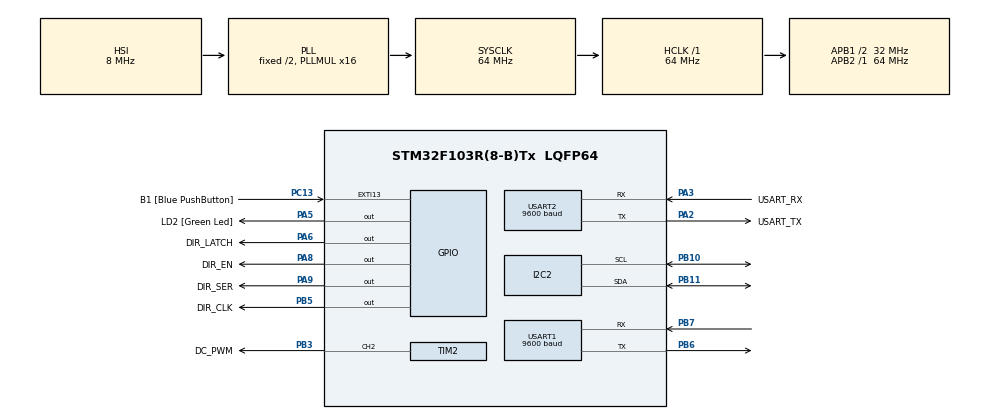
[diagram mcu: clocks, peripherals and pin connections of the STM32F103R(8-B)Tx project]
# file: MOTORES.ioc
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Mcu.Family=STM32F1
Mcu.Name=STM32F103R(8-B)Tx
Mcu.Package=LQFP64
NVIC.EXTI15_10_IRQn=true\:0\:0\:false\:false\:true\:true\:true\:true
NVIC.PriorityGroup=NVIC_PRIORITYGROUP_4
NVIC.USART1_IRQn=true\:0\:0\:false\:false\:true\:true\:true\:true
PA13.GPIO_Label=TMS
PA13.Mode=Serial_Wire
PA13.Signal=SYS_JTMS-SWDIO
PA14.GPIO_Label=TCK
PA14.Mode=Serial_Wire
PA14.Signal=SYS_JTCK-SWCLK
PA2.GPIO_Label=USART_TX
PA2.GPIO_Mode=GPIO_MODE_AF_PP
PA2.GPIO_PuPd=GPIO_NOPULL
PA2.GPIO_Speed=GPIO_SPEED_FREQ_LOW
PA2.Mode=Asynchronous
PA2.Signal=USART2_TX
PA3.GPIO_Label=USART_RX
PA3.GPIO_Mode=GPIO_MODE_AF_PP
PA3.GPIO_PuPd=GPIO_NOPULL
PA3.GPIO_Speed=GPIO_SPEED_FREQ_LOW
PA3.Mode=Asynchronous
PA3.Signal=USART2_RX
PA5.GPIO_Label=LD2 [Green Led]
PA5.GPIO_ModeDefaultOutputPP=GPIO_MODE_OUTPUT_PP
PA5.GPIO_PuPd=GPIO_NOPULL
PA5.GPIO_Speed=GPIO_SPEED_FREQ_LOW
PA5.Signal=GPIO_Output
PA6.GPIO_Label=DIR_LATCH
PA6.Signal=GPIO_Output
PA8.GPIO_Label=DIR_EN
PA8.Signal=GPIO_Output
PA9.GPIO_Label=DIR_SER
PA9.Signal=GPIO_Output
PB10.Mode=I2C
PB10.Signal=I2C2_SCL
PB11.Mode=I2C
PB11.Signal=I2C2_SDA
PB3.GPIO_Label=DC_PWM
PB3.Signal=S_TIM2_CH2
PB5.GPIO_Label=DIR_CLK
PB5.Signal=GPIO_Output
PB6.Mode=Asynchronous
PB6.Signal=USART1_TX
PB7.Mode=Asynchronous
PB7.Signal=USART1_RX
PC13-TAMPER-RTC.GPIO_Label=B1 [Blue PushButton]
PC13-TAMPER-RTC.GPIO_PuPd=GPIO_NOPULL
PC13-TAMPER-RTC.Signal=GPXTI13
PC14-OSC32_IN.Mode=LSE-External-Oscillator
PC14-OSC32_IN.Signal=RCC_OSC32_IN
PC15-OSC32_OUT.Mode=LSE-External-Oscillator
PC15-OSC32_OUT.Signal=RCC_OSC32_OUT
PC7.GPIO_Label=PWM_SERVO
PC7.Signal=S_TIM3_CH2
PD0-OSC_IN.Mode=HSE-External-Clock-Source
PD0-OSC_IN.Signal=RCC_OSC_IN
PD1-OSC_OUT.Mode=HSE-External-Clock-Source
PD1-OSC_OUT.Signal=RCC_OSC_OUT
ProjectManager.HeapSize=0x200
ProjectManager.StackSize=0x400
ProjectManager.TargetToolchain=STM32CubeIDE
RCC.AHBFreq_Value=64000000
RCC.APB1CLKDivider=RCC_HCLK_DIV2
RCC.APB1Freq_Value=32000000
RCC.APB1TimFreq_Value=64000000
RCC.APB2Freq_Value=64000000
RCC.APB2TimFreq_Value=64000000
RCC.HCLKFreq_Value=64000000
RCC.PLLMUL=RCC_PLL_MUL16
RCC.RTCClockSelection=RCC_RTCCLKSOURCE_LSE
RCC.SYSCLKFreq_VALUE=64000000
RCC.SYSCLKSource=RCC_SYSCLKSOURCE_PLLCLK
RCC.USBFreq_Value=64000000
SH.S_TIM2_CH2.0=TIM2_CH2,PWM Generation2 CH2
SH.S_TIM3_CH2.0=TIM3_CH2
TIM2.Channel-PWM\ Generation2\ CH2=TIM_CHANNEL_2
USART1.BaudRate=9600
USART1.VirtualMode=VM_ASYNC
USART2.BaudRate=9600
USART2.VirtualMode=VM_ASYNC
board=NUCLEO-F103RB

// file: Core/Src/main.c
/* USER CODE BEGIN Header */
/**
  ******************************************************************************
  * @file           : main.c
  * @brief          : Main program body
  ******************************************************************************
  * @attention
  *
  * Copyright (c) 2022 STMicroelectronics.
  * All rights reserved.
  *
  * This software is licensed under terms that can be found in the LICENSE file
  * in the root directory of this software component.
  * If no LICENSE file comes with this software, it is provided AS-IS.
  *
  ******************************************************************************
  */
/* USER CODE END Header */
#include "main.h"

/* USER CODE BEGIN Includes */
#include "L293D_STM32F103.h"
#include "API_STM32F103_SERVOMOTOR_MG90D.h"
//#include "HMC5883L.h"
#include "QMC5883.h"
#include "I2Cdev.h"
#include "Sail_Algorithms.h"
#include "Bluetooth_BLE_V4.2_JDY-18.h"
#include <string.h>
/* USER CODE END Includes */

I2C_HandleTypeDef hi2c2;

TIM_HandleTypeDef htim2;

UART_HandleTypeDef huart1;
UART_HandleTypeDef huart2;

/* USER CODE BEGIN PV */
Beacon b1;
Beacon b2;
Beacon b3;
float boat_x;
float boat_y;
QMC_t compass;
Compass_config config;
float boat_angle;
float target_angle;
float rudder_angle;
uint8_t duty_cylce_dc_motor;

//Variáveis para o módulo bluetooth
extern Status_t status;
static char buffer[700];
uint8_t caractere[1];
static uint8_t buffer_index = 0;
ListDevices_t listModules;
/* USER CODE END PV */

void SystemClock_Config(void);
static void MX_GPIO_Init(void);
static void MX_USART2_UART_Init(void);
static void MX_TIM2_Init(void);
static void MX_I2C2_Init(void);
static void MX_USART1_UART_Init(void);
/* USER CODE BEGIN PFP */
void GetBeaconBTData(Beacon *b1, Beacon *b2, Beacon *b3, ListDevices_t listModules);
void GetCompassData();
/* USER CODE END PFP */

int main(void)
{

  /* MCU Configuration--------------------------------------------------------*/

  /* Reset of all peripherals, Initializes the Flash interface and the Systick. */
  HAL_Init();

  /* Configure the system clock */
  SystemClock_Config();

  /* Initialize all configured peripherals */
  MX_GPIO_Init();
  MX_USART2_UART_Init();
  MX_TIM2_Init();
  MX_I2C2_Init();
  MX_USART1_UART_Init();
  /* USER CODE BEGIN 2 */
  __HAL_UART_ENABLE_IT(&huart1, UART_IT_RXNE);

  //Configura o módulo Bluetooth
  status = INSTRUCTION;
  //memset(buffer,0,strlen(buffer));
  //buffer_index = 0;
  setupBLE(&huart1, &huart2);
  while(status != FINISH);

  status = INSTRUCTION;
  //memset(buffer,0,strlen(buffer));
  //buffer_index = 0;
  setBaud(BAUD_9600);
  while(status != FINISH);

  status = INSTRUCTION;
  //memset(buffer,0,strlen(buffer));
  //buffer_index = 0;
  setRole(MASTER);
  while(status != FINISH);

  b1.x = UTM_B1_X;
  b1.y = UTM_B1_Y;
  b1.d = 0;
  b2.x = UTM_B2_X;
  b2.y = UTM_B2_Y;
  b2.d = 0;
  b3.x = UTM_B3_X;
  b3.y = UTM_B3_Y ;
  b3.d = 0;

  compass.ADDR_Control_RegisterA = ADDR_REG_A;
  compass.ADDR_Control_RegisterB = ADDR_REG_B;
  compass.ADDR_Mode_Register = ADDR_REG_MODE;
  compass.ADDR_Status_Register = ADDR_REG_STATUS;

  config.gain = _4_0;
  config.meas_mode = Normal;
  config.op_mode = Continuous_meas;
  config.output_rate = 75;
  config.samples_num = eight;

  QMC_init(&compass,&hi2c2,&config);

  SetupServo(SERVO_PWM_GPIO_Port, SERVO_PWM_Pin);
  Setup_DC_Motor(&htim2, TIM_CHANNEL_2);

  SetDirection_DC_Motor(Forward);
  SetDutyCycle_DC_Motor(&htim2, TIM_CHANNEL_2, 100);

  //HAL_Delay(2000);
  //SetDirection_DC_Motor(Back);
  //HAL_Delay(1000);
  //SetDirection_DC_Motor(Forward);
  HAL_Delay(10000);

  //SetDirection_DC_Motor(Forward);
  //SetDutyCycle_DC_Motor(&htim2, TIM_CHANNEL_2, 100);

  /* USER CODE END 2 */

  /* Infinite loop */
  while (1)
  {

    /* USER CODE BEGIN 3 */
	  	  status = INSTRUCTION;
	  	  //memset(buffer,0,strlen(buffer));
	  	  //buffer_index = 0;
	  	  setMasterScanForSlaves();
		  while(status != FINISH);

	  	  status = SCAN;
//		  memset(buffer,0,strlen(buffer));
//		  buffer_index = 0;
		  while(status != FINISH);
		  listModules = masterScanForSlaves(buffer);
		  memset(buffer,0,strlen(buffer));

		  if(listModules.nbOfDevices != 0)
			  GetBeaconBTData(&b1, &b2, &b3, listModules);

	  	  b1.d = BeaconDistance(b1.power, b1.RSSI);
	  	  b2.d = BeaconDistance(b2.power, b2.RSSI);
	  	  b3.d = BeaconDistance(b3.power, b3.RSSI);

	  	  BoatPosition(&b1, &b2, &b3, &boat_x, &boat_y);

	  	  GetCompassData();

	  	  boat_angle = AngleFromGeoNorth(&compass);

	  	  target_angle = TargetAngleFromGeoNorth(&b2, boat_x, boat_y);

	  	  rudder_angle = RudderAngle(boat_angle, target_angle);

	  	  SetPosition(rudder_angle);

	  	  duty_cylce_dc_motor = DCMotorDutyCycle(boat_angle, target_angle);

	  	  SetDutyCycle_DC_Motor(&htim2, TIM_CHANNEL_2, 100);

	  	  HAL_Delay(100);
	  	  HAL_GPIO_TogglePin(LD2_GPIO_Port, LD2_Pin);

  }
  /* USER CODE END 3 */
}

void SystemClock_Config(void)
{
  RCC_OscInitTypeDef RCC_OscInitStruct = {0};
  RCC_ClkInitTypeDef RCC_ClkInitStruct = {0};

  /** Initializes the RCC Oscillators according to the specified parameters
  * in the RCC_OscInitTypeDef structure.
  */
  RCC_OscInitStruct.OscillatorType = RCC_OSCILLATORTYPE_HSI;
  RCC_OscInitStruct.HSIState = RCC_HSI_ON;
  RCC_OscInitStruct.HSICalibrationValue = RCC_HSICALIBRATION_DEFAULT;
  RCC_OscInitStruct.PLL.PLLState = RCC_PLL_ON;
  RCC_OscInitStruct.PLL.PLLSource = RCC_PLLSOURCE_HSI_DIV2;
  RCC_OscInitStruct.PLL.PLLMUL = RCC_PLL_MUL16;
  if (HAL_RCC_OscConfig(&RCC_OscInitStruct) != HAL_OK)
  {
    Error_Handler();
  }

  /** Initializes the CPU, AHB and APB buses clocks
  */
  RCC_ClkInitStruct.ClockType = RCC_CLOCKTYPE_HCLK|RCC_CLOCKTYPE_SYSCLK
                              |RCC_CLOCKTYPE_PCLK1|RCC_CLOCKTYPE_PCLK2;
  RCC_ClkInitStruct.SYSCLKSource = RCC_SYSCLKSOURCE_PLLCLK;
  RCC_ClkInitStruct.AHBCLKDivider = RCC_SYSCLK_DIV1;
  RCC_ClkInitStruct.APB1CLKDivider = RCC_HCLK_DIV2;
  RCC_ClkInitStruct.APB2CLKDivider = RCC_HCLK_DIV1;

  if (HAL_RCC_ClockConfig(&RCC_ClkInitStruct, FLASH_LATENCY_2) != HAL_OK)
  {
    Error_Handler();
  }
}

static void MX_I2C2_Init(void)
{

  hi2c2.Instance = I2C2;
  hi2c2.Init.ClockSpeed = 100000;
  hi2c2.Init.DutyCycle = I2C_DUTYCYCLE_2;
  hi2c2.Init.OwnAddress1 = 0;
  hi2c2.Init.AddressingMode = I2C_ADDRESSINGMODE_7BIT;
  hi2c2.Init.DualAddressMode = I2C_DUALADDRESS_DISABLE;
  hi2c2.Init.OwnAddress2 = 0;
  hi2c2.Init.GeneralCallMode = I2C_GENERALCALL_DISABLE;
  hi2c2.Init.NoStretchMode = I2C_NOSTRETCH_DISABLE;
  if (HAL_I2C_Init(&hi2c2) != HAL_OK)
  {
    Error_Handler();
  }

}

static void MX_TIM2_Init(void)
{

  TIM_MasterConfigTypeDef sMasterConfig = {0};
  TIM_OC_InitTypeDef sConfigOC = {0};

  htim2.Instance = TIM2;
  htim2.Init.Prescaler = 0;
  htim2.Init.CounterMode = TIM_COUNTERMODE_UP;
  htim2.Init.Period = 65535;
  htim2.Init.ClockDivision = TIM_CLOCKDIVISION_DIV1;
  htim2.Init.AutoReloadPreload = TIM_AUTORELOAD_PRELOAD_DISABLE;
  if (HAL_TIM_PWM_Init(&htim2) != HAL_OK)
  {
    Error_Handler();
  }
  sMasterConfig.MasterOutputTrigger = TIM_TRGO_RESET;
  sMasterConfig.MasterSlaveMode = TIM_MASTERSLAVEMODE_DISABLE;
  if (HAL_TIMEx_MasterConfigSynchronization(&htim2, &sMasterConfig) != HAL_OK)
  {
    Error_Handler();
  }
  sConfigOC.OCMode = TIM_OCMODE_PWM1;
  sConfigOC.Pulse = 0;
  sConfigOC.OCPolarity = TIM_OCPOLARITY_HIGH;
  sConfigOC.OCFastMode = TIM_OCFAST_DISABLE;
  if (HAL_TIM_PWM_ConfigChannel(&htim2, &sConfigOC, TIM_CHANNEL_2) != HAL_OK)
  {
    Error_Handler();
  }
  HAL_TIM_MspPostInit(&htim2);

}

static void MX_USART1_UART_Init(void)
{

  huart1.Instance = USART1;
  huart1.Init.BaudRate = 9600;
  huart1.Init.WordLength = UART_WORDLENGTH_8B;
  huart1.Init.StopBits = UART_STOPBITS_1;
  huart1.Init.Parity = UART_PARITY_NONE;
  huart1.Init.Mode = UART_MODE_TX_RX;
  huart1.Init.HwFlowCtl = UART_HWCONTROL_NONE;
  huart1.Init.OverSampling = UART_OVERSAMPLING_16;
  if (HAL_UART_Init(&huart1) != HAL_OK)
  {
    Error_Handler();
  }

}

static void MX_USART2_UART_Init(void)
{

  huart2.Instance = USART2;
  huart2.Init.BaudRate = 9600;
  huart2.Init.WordLength = UART_WORDLENGTH_8B;
  huart2.Init.StopBits = UART_STOPBITS_1;
  huart2.Init.Parity = UART_PARITY_NONE;
  huart2.Init.Mode = UART_MODE_TX_RX;
  huart2.Init.HwFlowCtl = UART_HWCONTROL_NONE;
  huart2.Init.OverSampling = UART_OVERSAMPLING_16;
  if (HAL_UART_Init(&huart2) != HAL_OK)
  {
    Error_Handler();
  }

}

static void MX_GPIO_Init(void)
{
  GPIO_InitTypeDef GPIO_InitStruct = {0};

  /* GPIO Ports Clock Enable */
  __HAL_RCC_GPIOC_CLK_ENABLE();
  __HAL_RCC_GPIOD_CLK_ENABLE();
  __HAL_RCC_GPIOA_CLK_ENABLE();
  __HAL_RCC_GPIOB_CLK_ENABLE();

  /*Configure GPIO pin Output Level */
  HAL_GPIO_WritePin(GPIOA, LD2_Pin|DIR_LATCH_Pin|DIR_EN_Pin|DIR_SER_Pin, GPIO_PIN_RESET);

  /*Configure GPIO pin Output Level */
  HAL_GPIO_WritePin(DIR_CLK_GPIO_Port, DIR_CLK_Pin, GPIO_PIN_RESET);

  /*Configure GPIO pin : B1_Pin */
  GPIO_InitStruct.Pin = B1_Pin;
  GPIO_InitStruct.Mode = GPIO_MODE_IT_RISING;
  GPIO_InitStruct.Pull = GPIO_NOPULL;
  HAL_GPIO_Init(B1_GPIO_Port, &GPIO_InitStruct);

  /*Configure GPIO pins : LD2_Pin DIR_LATCH_Pin DIR_EN_Pin DIR_SER_Pin */
  GPIO_InitStruct.Pin = LD2_Pin|DIR_LATCH_Pin|DIR_EN_Pin|DIR_SER_Pin;
  GPIO_InitStruct.Mode = GPIO_MODE_OUTPUT_PP;
  GPIO_InitStruct.Pull = GPIO_NOPULL;
  GPIO_InitStruct.Speed = GPIO_SPEED_FREQ_LOW;
  HAL_GPIO_Init(GPIOA, &GPIO_InitStruct);

  /*Configure GPIO pin : PWM_SERVO_Pin */
  GPIO_InitStruct.Pin = PWM_SERVO_Pin;
  GPIO_InitStruct.Mode = GPIO_MODE_AF_PP;
  GPIO_InitStruct.Speed = GPIO_SPEED_FREQ_LOW;
  HAL_GPIO_Init(PWM_SERVO_GPIO_Port, &GPIO_InitStruct);

  /*Configure GPIO pin : DIR_CLK_Pin */
  GPIO_InitStruct.Pin = DIR_CLK_Pin;
  GPIO_InitStruct.Mode = GPIO_MODE_OUTPUT_PP;
  GPIO_InitStruct.Pull = GPIO_NOPULL;
  GPIO_InitStruct.Speed = GPIO_SPEED_FREQ_LOW;
  HAL_GPIO_Init(DIR_CLK_GPIO_Port, &GPIO_InitStruct);

  /*Configure peripheral I/O remapping */
  __HAL_AFIO_REMAP_TIM3_ENABLE();

  /* EXTI interrupt init*/
  HAL_NVIC_SetPriority(EXTI15_10_IRQn, 0, 0);
  HAL_NVIC_EnableIRQ(EXTI15_10_IRQn);

}

/* USER CODE BEGIN 4 */
void GetBeaconBTData(Beacon *b1, Beacon *b2, Beacon *b3, ListDevices_t listModules){
	for(uint8_t i=0; i<listModules.nbOfDevices; i++){
		if(strstr(listModules.devices[i].name,"PSE2022_B1") != NULL){
			b1->RSSI = listModules.devices[i].signalStrength;
		}
		else if(strstr(listModules.devices[i].name,"PSE2022_B2") != NULL){
			b2->RSSI = listModules.devices[i].signalStrength;
		}
		else if(strstr(listModules.devices[i].name,"PSE2022_B3") != NULL){
			b3->RSSI = listModules.devices[i].signalStrength;
		}
	}
	b1->power = BEACON_POWER;
	b2->power = BEACON_POWER;
	b3->power = BEACON_POWER;
}

void GetCompassData(){
	//HMC5883L_measurement(&x_field, &y_field, &z_field);
	//QMC_init(&compass,&hi2c2,&config);
	QMC_read(&compass);
}

void HAL_UART_RxCpltCallback(UART_HandleTypeDef *huart){
	if(status != FINISH){
		buffer[buffer_index] = (char) *caractere;
		buffer_index++;
		char *check = strstr(buffer, "OK");
		char *check2 = strstr(buffer, "STOP:SCAN");
		if(((check != NULL)&&(status == INSTRUCTION)) || ((check2 != NULL)&&(status == SCAN))){
			strcat(buffer,"\r\n");
			HAL_UART_Transmit(&huart2, (uint8_t *) buffer, strlen(buffer), HAL_MAX_DELAY);
			if(status != SCAN){
				memset(buffer,0,strlen(buffer));
			}
			else{
				sendToLogger("Inquired \r\n");
			}
			status = FINISH;
			buffer_index = 0;
		}
		//free(check);
		//free(check2);
	}
}
/* USER CODE END 4 */

void Error_Handler(void)
{
  __disable_irq();
  while (1)
  {
  }
}
